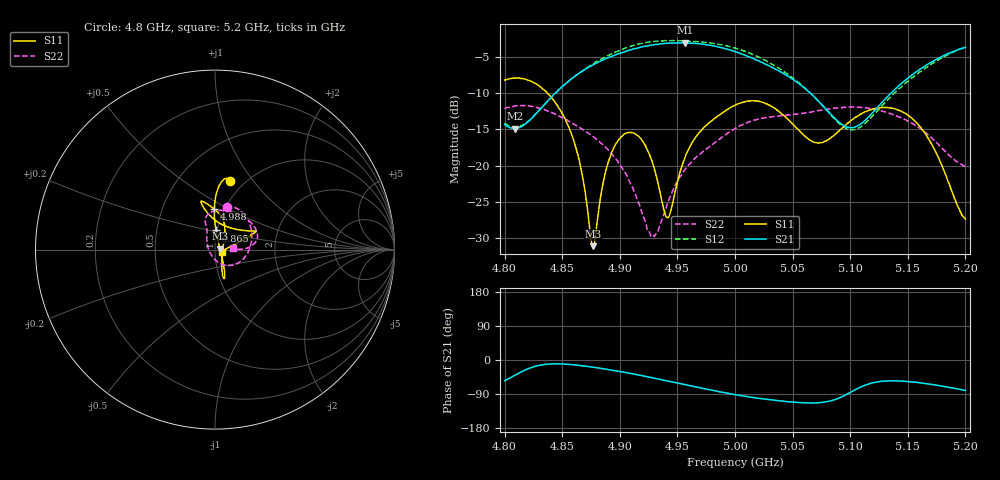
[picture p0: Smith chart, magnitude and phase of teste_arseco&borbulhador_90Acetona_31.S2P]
! Network Analyzer HP8722D
! Hewlett-Packard
! Data name: Linha & Wilkinson
! Saver's name: Rodrigo Anjos
! Comments: Teste da utilização de aquisição
! continua pelo VNA HP8722D
! Time and date: 17/4/2025 11:18
!  Frequency  S11  S21  S12  S22
# HZ  S  MA R 50
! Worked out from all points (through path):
!   401 points, 4.8 GHz to 5.2 GHz, reference 50 ohm
!   highest |S21| = -3.04 dB at 4.957 GHz (marker M1); lowest = -14.9 dB at 4.809 GHz (marker M2)
!   lowest |S11| = -31.1 dB at 4.877 GHz (marker M3), VSWR 1.06, Z = 52.8 + j0.456 ohm
!   |S11| at or under -10 dB: 4.837 GHz to end of sweep
!   |S22| runs from -29.9 to -11.7 dB; largest |S21 - S12| = 1.4
!   S11 on the Smith chart (normalised r, x): 4.8 GHz: 0.86, +0.77; 4.865 GHz: 0.99, +0.21; 4.988 GHz: 0.89, +0.43; 5.2 GHz: 1.08, -0.03
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4.8e9  0.3889 77.4  0.1921 -54.7  0.1971 79.6  0.2474 74.7
4.809e9  0.4013 80.1  0.1803 -40.3  0.1839 92.6  0.2582 67.6
4.842e9  0.2859 89.6  0.3046 -10.1  0.3035 122.7  0.2306 28.8
4.855e9  0.19 91.1  0.3798 -11.3  0.3779 123.4  0.2035 9.9
4.865e9  0.1067 87.1  0.4359 -14.1  0.4369 122.3  0.1838 -5.4
4.867e9  0.08923 84.4  0.4466 -15.1  0.4476 122.1  0.1791 -8.5
4.877e9  0.02776 8.9  0.4958 -19.1  0.5057 119.7  0.158 -24.0
4.889e9  0.09907 -61.8  0.5525 -24.6  0.5702 115.9  0.1306 -41.8
4.903e9  0.1628 -70.4  0.6061 -32.0  0.6388 109.8  0.09351 -62.7
4.92e9  0.1465 -73.5  0.6614 -41.9  0.7029 100.5  0.04528 -103.2
4.928e9  0.1071 -69.1  0.6799 -46.6  0.7174 95.6  0.03217 -148.5
4.934e9  0.07079 -57.0  0.6894 -50.4  0.7263 91.8  0.03717 170.9
4.942e9  0.04346 -0.2  0.6983 -55.5  0.7295 86.6  0.05568 140.9
4.957e9  0.1162 61.8  0.7045 -65.1  0.7256 77.3  0.09533 118.7
4.988e9  0.2281 91.8  0.6509 -84.5  0.6837 57.3  0.1559 110.0
5e9  0.2612 100.4  0.6112 -91.6  0.6485 49.7  0.1806 107.2
5.028e9  0.2656 106.2  0.4951 -103.9  0.5219 34.8  0.2156 91.3
5.067e9  0.1473 77.4  0.308 -113.4  0.3088 27.2  0.2352 57.0
5.101e9  0.2055 30.9  0.1824 -84.1  0.1764 59.1  0.2541 26.8
5.134e9  0.2504 23.8  0.3079 -55.1  0.2918 91.2  0.2298 10.2
5.164e9  0.1713 19.5  0.4811 -61.5  0.4633 86.6  0.1724 2.2
5.2e9  0.04264 -18.0  0.6542 -80.4  0.6553 69.0  0.09854 5.6
